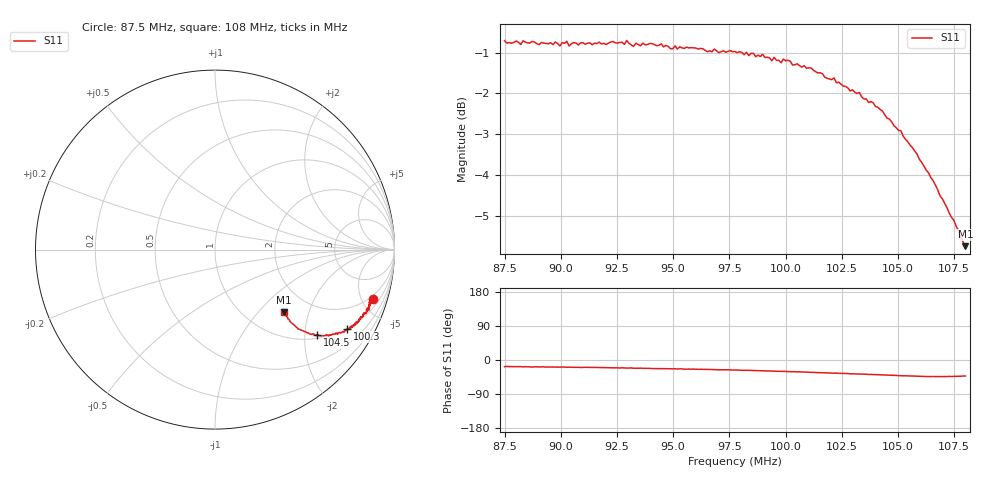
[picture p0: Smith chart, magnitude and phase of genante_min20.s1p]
!Agilent Technologies,N5225A,MY51441201,A.09.90.19
!Agilent N5225A: A.09.90.19
!Date: Thursday, May 17, 2018 16:02:07
!Correction: S11(Full 1 Port(1))
!S1P File: Measurement: S11:
# Hz S  dB  R 50
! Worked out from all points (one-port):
!   201 points, 87.5 MHz to 108 MHz, reference 50 ohm
!   lowest |S11| = -5.7 dB at 108 MHz (marker M1), VSWR 3.13, Z = 73 - j69.1 ohm
!   |S11| at or under -10 dB: nowhere
!   S11 on the Smith chart (normalised r, x): 87.5 MHz: 1.64, -6.05; 100.3 MHz: 0.98, -3.35; 104.5 MHz: 1.10, -2.31; 108 MHz: 1.46, -1.38
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8.75e7  -0.71 -17.5
8.76025e7  -0.77 -17.0
8.8525e7  -0.76 -17.8
8.873e7  -0.73 -18.6
8.8935e7  -0.78 -18.0
8.9755e7  -0.74 -18.6
8.996e7  -0.84 -18.8
9.00625e7  -0.76 -18.6
9.2625e7  -0.75 -21.2
9.31375e7  -0.81 -21.0
9.406e7  -0.78 -22.6
9.49825e7  -0.91 -23.5
9.5085e7  -0.83 -23.2
9.51875e7  -0.91 -23.8
9.529e7  -0.86 -23.4
9.70325e7  -1.00 -26.0
9.775e7  -0.98 -26.3
9.898e7  -1.04 -28.6
9.98e7  -1.25 -30.1
9.99025e7  -1.16 -29.9
1.003125e8  -1.31 -30.9
1.021575e8  -1.62 -34.5
1.02875e8  -1.94 -36.5
1.03285e8  -1.98 -37.0
1.04515e8  -2.61 -39.9
1.054375e8  -3.19 -42.0
1.066675e8  -4.25 -43.7
1.08e8  -5.75 -42.3
